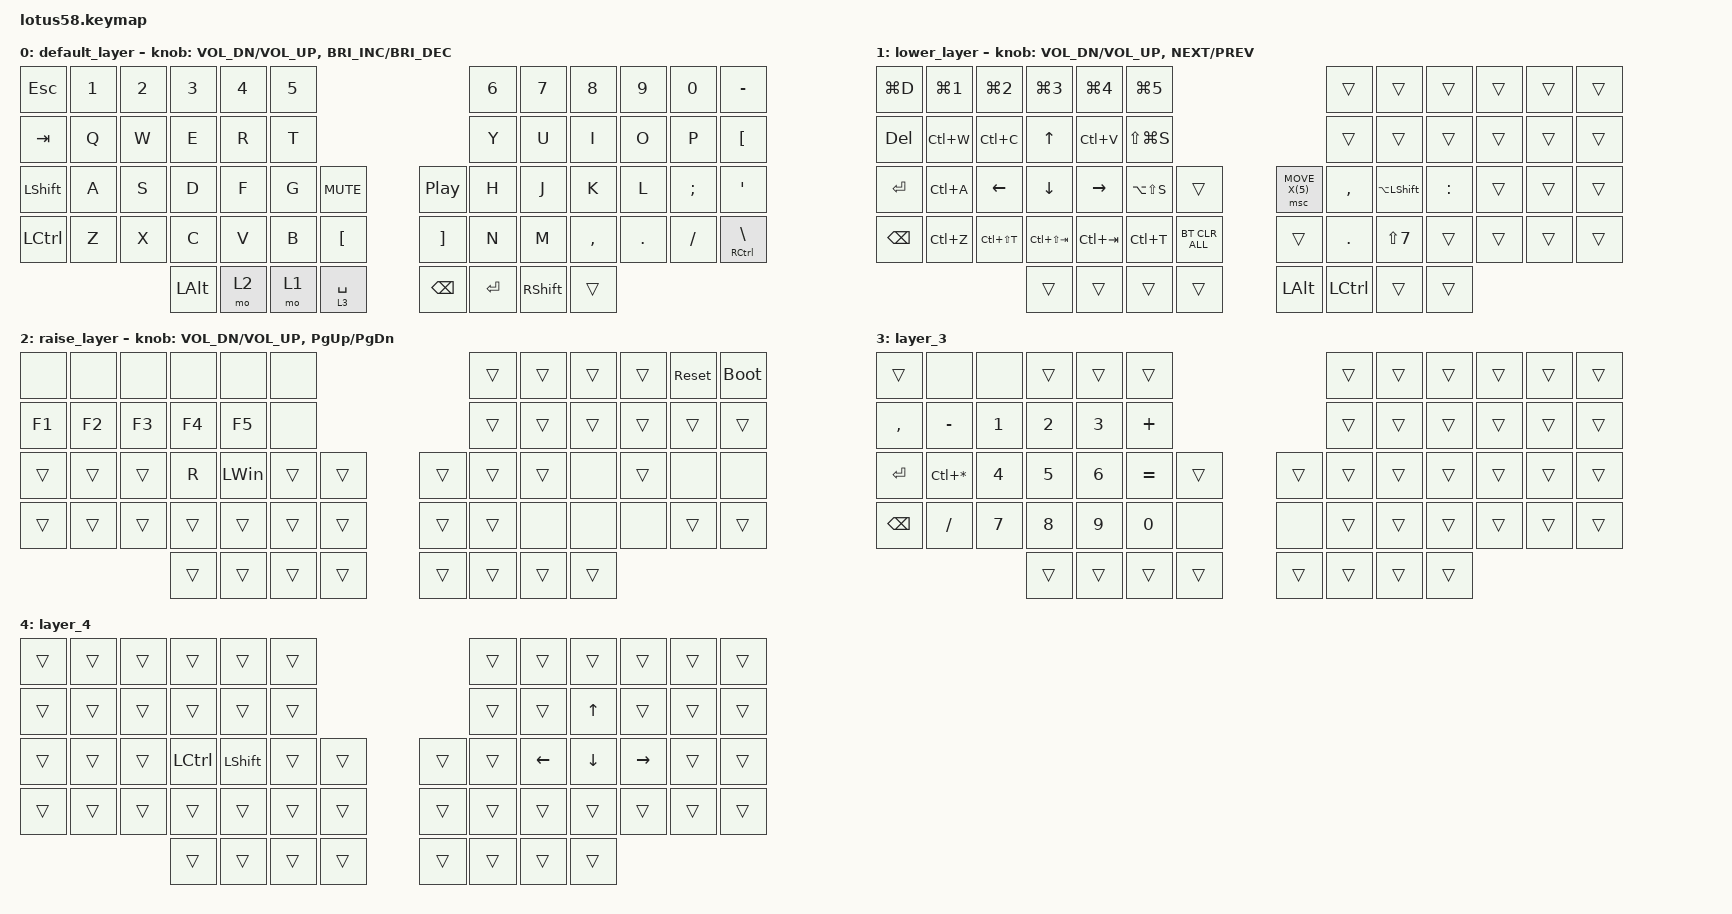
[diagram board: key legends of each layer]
/*
 * Copyright (c) 2022 The ZMK Contributors
 *
 * SPDX-License-Identifier: MIT
 */

#include <behaviors.dtsi>
#include <dt-bindings/zmk/bt.h>
#include <dt-bindings/zmk/keys.h>
#include <dt-bindings/zmk/pointing.h>

/ {
    combos {
        compatible = "zmk,combos";

        momentlayer {
            bindings = <&mo 4>;
            key-positions = <57 54>;
        };
    };

    behaviors {
        alt_win: alt_win {
            compatible = "zmk,behavior-hold-tap";
            label = "ALT_WIN";
            bindings = <&kp>, <&kp>;

            #binding-cells = <2>;
            tapping-term-ms = <160>;
            flavor = "tap-preferred";
        };

        layer_space: layer_space {
            compatible = "zmk,behavior-hold-tap";
            label = "LAYER_SPACE";
            bindings = <&mo>, <&kp>;

            #binding-cells = <2>;
            tapping-term-ms = <180>;
            flavor = "balanced";
            retro-tap;
            require-prior-idle-ms = <150>;
        };
    };

    keymap {
        compatible = "zmk,keymap";

        default_layer {
            //   ------------------------------------------------------------------------------------------------------------
            //  0|  ESC  |  1  |  2  |  3   |  4   |  5   |                     |  6   |  7    |  8    |  9   |   0   |   =   | 11
            // 12|  TAB  |  Q  |  W  |  E   |  R   |  T   |                     |  Y   |  U    |  I    |  O   |   P   |   [   | 23
            // 24|  SFT  |  A  |  S  |  D   |  F   |  G   |  RESET  |  | RESET  |  H   |  J    |  K    |  L   |   ;   | ' SFT | 37
            // 38|  CTRL |  Z  |  X  |  C   |  V   |  B   |  MUTE   |  | PLAY   |  N   |  M    |  ,    |  .   |   /   | \ CTRL| 51
            // 52                    |ENT RS|  ALT | SPACE|DELETE LW|  |ENTER RS| BSPC |  ] LW | RGUI  |                        59

            bindings = <
&kp ESC    &kp N1  &kp N2  &kp N3        &kp NUMBER_4  &kp N5                                           &kp N6     &kp N7           &kp N8     &kp N9   &kp N0         &kp MINUS
&kp TAB    &kp Q   &kp W   &kp E         &kp R         &kp T                                            &kp Y      &kp U            &kp I      &kp O    &kp P          &kp LEFT_BRACKET
&kp LSHFT  &kp A   &kp S   &kp D         &kp F         &kp G   &kp C_MUTE            &kp C_PLAY_PAUSE   &kp H      &kp J            &kp K      &kp L    &kp SEMICOLON  &kp SQT
&kp LCTRL  &kp Z   &kp X   &kp C         &kp V         &kp B   &kp LEFT_BRACKET      &kp RIGHT_BRACKET  &kp N      &kp M            &kp COMMA  &kp DOT  &kp FSLH       &mt RCTRL BSLH
                           &kp LEFT_ALT  &mo 2         &mo 1   &layer_space 3 SPACE  &kp BACKSPACE      &kp ENTER  &kp RIGHT_SHIFT  &trans
            >;

            sensor-bindings =
                <&inc_dec_kp C_VOL_DN C_VOL_UP>,
                <&inc_dec_kp C_BRIGHTNESS_INC C_BRIGHTNESS_DEC>;
        };

        lower_layer {
            // ------------------------------------------------------------------------------------------------------------
            // | `     |  F1 |  F2 |  F3  |  F4  |  F5  |                   |  F6  |  F7   |  F8   |  F9  |  F10  |  F11  |
            // |       |  !  | HOME|   ^  |  END |  %   |                   | VOL^ |  PGUP |  INS  |  ^   |  PSCR |   -   |
            // |       |  #  |  <- |   v  | ->   |  $   |        |  |       | VOLv |    <- |   ^   |  ->  |   ~   |   _   |
            // |       |  @  |  -  |  (   |  )   |  &   |        |  |       | MUTE |  PGDN |   v   |  :   |   *   |   |   |
            //                     |  F11 |      |      |        |  |       |      |       |  F12  |

            bindings = <
&kp LG(D)      &kp LG(NUMBER_1)  &kp LG(NUMBER_2)  &kp LG(NUMBER_3)  &kp LG(NUMBER_4)  &kp LG(N5)                                     &trans     &trans              &trans     &trans  &trans  &trans
&kp DEL        &kp LC(W)         &kp LC(C)         &kp UP            &kp LC(V)         &kp LS(LG(S))                                  &trans     &trans              &trans     &trans  &trans  &trans
&kp ENTER      &kp LC(A)         &kp LEFT          &kp DOWN          &kp RIGHT         &kp LA(LS(S))  &trans          &msc MOVE_X(5)  &kp COMMA  &kp LA(LEFT_SHIFT)  &kp COLON  &trans  &trans  &trans
&kp BACKSPACE  &kp LC(Z)         &kp LC(LS(T))     &kp LC(LS(TAB))   &kp LC(TAB)       &kp LC(T)      &bt BT_CLR_ALL  &trans          &kp DOT    &kp LS(N7)          &trans     &trans  &trans  &trans
                                                   &trans            &trans            &trans         &trans          &kp LEFT_ALT    &kp LCTRL  &trans              &trans
            >;

            sensor-bindings = <&inc_dec_kp C_VOL_DN C_VOL_UP &inc_dec_kp C_NEXT C_PREV>;
        };

        raise_layer {
            // ------------------------------------------------------------------------------------------------------------
            // |BTCLR| BT1  | BT2  |  BT3  |  BT4  |  BT5 |                |OUTTOG|OUTUSB| OUTBT |      | RESET | FLASH |
            // |     | INS  | PSCR | GUI   | RESET |      |                | PGUP |      |   ^   |      |       |       |
            // |     | ALT  | CTRL | SHIFT | FLASH | CAPS |      |  |      | PGDN |   <- |   v   |  ->  |  DEL  | BSPC  |
            // |     | UNDO | CUT  | COPY  | PASTE |      |      |  |      |      |  |>  |  <|<| | |>|> |       |       |
            //                     |       |       |      |      |  |      |      |      |       |

            bindings = <
&none   &none   &none   &none   &none         &none                   &trans  &trans  &trans  &trans  &sys_reset  &bootloader
&kp F1  &kp F2  &kp F3  &kp F4  &kp F5        &none                   &trans  &trans  &trans  &trans  &trans      &trans
&trans  &trans  &trans  &kp R   &kp LEFT_WIN  &trans  &trans  &trans  &trans  &trans  &none   &trans  &none       &none
&trans  &trans  &trans  &trans  &trans        &trans  &trans  &trans  &trans  &none   &none   &none   &trans      &trans
                        &trans  &trans        &trans  &trans  &trans  &trans  &trans  &trans
            >;

            sensor-bindings = <&inc_dec_kp C_VOL_DN C_VOL_UP &inc_dec_kp PG_UP PG_DN>;
        };

        layer_3 {
            bindings = <
&trans         &none             &none   &trans  &trans  &trans                     &trans  &trans  &trans  &trans  &trans  &trans
&kp COMMA      &kp MINUS         &kp N1  &kp N2  &kp N3  &kp PLUS                   &trans  &trans  &trans  &trans  &trans  &trans
&kp ENTER      &kp LC(ASTERISK)  &kp N4  &kp N5  &kp N6  &kp EQUAL  &trans  &trans  &trans  &trans  &trans  &trans  &trans  &trans
&kp BACKSPACE  &kp SLASH         &kp N7  &kp N8  &kp N9  &kp N0     &none   &none   &trans  &trans  &trans  &trans  &trans  &trans
                                         &trans  &trans  &trans     &trans  &trans  &trans  &trans  &trans
            >;
        };

        layer_4 {
            bindings = <
&trans  &trans  &trans  &trans     &trans          &trans                  &trans  &trans          &trans        &trans           &trans  &trans
&trans  &trans  &trans  &trans     &trans          &trans                  &trans  &trans          &kp UP_ARROW  &trans           &trans  &trans
&trans  &trans  &trans  &kp LCTRL  &kp LEFT_SHIFT  &trans  &trans  &trans  &trans  &kp LEFT_ARROW  &kp DOWN      &kp RIGHT_ARROW  &trans  &trans
&trans  &trans  &trans  &trans     &trans          &trans  &trans  &trans  &trans  &trans          &trans        &trans           &trans  &trans
                        &trans     &trans          &trans  &trans  &trans  &trans  &trans          &trans
            >;
        };
    };
};
